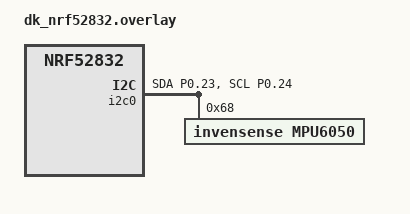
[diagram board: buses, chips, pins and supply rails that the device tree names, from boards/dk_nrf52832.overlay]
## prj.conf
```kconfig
# Peripheral
# CONFIG_STDOUT_CONSOLE=y
CONFIG_GPIO=y
CONFIG_I2C=y

# PRINT FLOAT
CONFIG_CBPRINTF_FP_SUPPORT=y

# SHELL
CONFIG_SHELL=y
CONFIG_GPIO_SHELL=y
CONFIG_I2C_SHELL=y

# Enable CONSOLE
CONFIG_CONSOLE=y

# Enable LOG
CONFIG_LOG=y
CONFIG_LOG_PRINTK=y
CONFIG_LOG_BUFFER_SIZE=4096

# Sensor
CONFIG_SENSOR=y
#CONFIG_SENSOR_LOG_LEVEL_DBG=y
CONFIG_MPU6050=y
CONFIG_MPU6050_TRIGGER_NONE=y
```

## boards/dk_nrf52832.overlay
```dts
&pinctrl {
	i2c0_default: i2c0_default {
		group1 {
			psels = <NRF_PSEL(TWIM_SDA, 0, 23)>,
				<NRF_PSEL(TWIM_SCL, 0, 24)>;
		};
	};
	i2c0_sleep: i2c0_sleep {
		group1 {
			psels = <NRF_PSEL(TWIM_SDA, 0, 23)>,
				<NRF_PSEL(TWIM_SCL, 0, 24)>;
			low-power-enable;
		};
	};
};

&i2c0 {
	compatible = "nordic,nrf-twi";
	status = "okay";
	pinctrl-0 = <&i2c0_default>;
	pinctrl-1 = <&i2c0_sleep>;
	pinctrl-names = "default", "sleep";

	mpu6050@68 {
		compatible = "invensense,mpu6050";
		reg = <0x68>;
		status = "okay";
		// int-gpios = <&gpio0 11 GPIO_ACTIVE_HIGH>;
	};
};
```

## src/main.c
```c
/*
 * Copyright (c) 2017 STMicroelectronics
 *
 * SPDX-License-Identifier: Apache-2.0
 */

#include <zephyr/kernel.h>
#include <zephyr/device.h>
#include <zephyr/drivers/sensor.h>
#include <stdio.h>
#include <zephyr/logging/log.h>
#include <zephyr/sys/printk.h>

LOG_MODULE_REGISTER(main, LOG_LEVEL_INF);

static int process_mpu6050(const struct device *dev);

int main(void)
{
	const struct device *const mpu6050 = DEVICE_DT_GET_ONE(invensense_mpu6050);

	if (!device_is_ready(mpu6050)) {
		printf("Device %s is not ready\n", mpu6050->name);
		return 0;
	}

#ifdef CONFIG_MPU6050_TRIGGER
	trigger = (struct sensor_trigger) {
		.type = SENSOR_TRIG_DATA_READY,
		.chan = SENSOR_CHAN_ALL,
	};
	if (sensor_trigger_set(mpu6050, &trigger,
			       handle_mpu6050_drdy) < 0) {
		printf("Cannot configure trigger\n");
		return 0;
	}
	printk("Configured for triggered sampling.\n");
#endif

	while (!IS_ENABLED(CONFIG_MPU6050_TRIGGER)) {
		int rc = process_mpu6050(mpu6050);

		if (rc != 0) {
			break;
		}
		k_sleep(K_SECONDS(2));
	}

	/* triggered runs with its own thread after exit */
	return 0;
}

static int process_mpu6050(const struct device *dev)
{
	struct sensor_value temperature;
	struct sensor_value accel[3];
	struct sensor_value gyro[3];
	int rc = sensor_sample_fetch(dev);

	if (rc == 0) {
		rc = sensor_channel_get(dev, SENSOR_CHAN_ACCEL_XYZ,
					accel);
	}
	if (rc == 0) {
		rc = sensor_channel_get(dev, SENSOR_CHAN_GYRO_XYZ,
					gyro);
	}
	if (rc == 0) {
		rc = sensor_channel_get(dev, SENSOR_CHAN_DIE_TEMP,
					&temperature);
	}
	if (rc == 0) {
		printf("[%s]:%g Cel\n"
		       "  accel %f %f %f m/s^2\n"
		       "  gyro  %f %f %f rad/s\n",
		       "mpu6050",
		       sensor_value_to_double(&temperature),
		       sensor_value_to_double(&accel[0]),
		       sensor_value_to_double(&accel[1]),
		       sensor_value_to_double(&accel[2]),
		       sensor_value_to_double(&gyro[0]),
		       sensor_value_to_double(&gyro[1]),
		       sensor_value_to_double(&gyro[2]));
	} else {
		printf("sample fetch/get failed: %d\n", rc);
	}

	return rc;
}
```

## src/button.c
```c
/*
 * @Author: andy.chang
 * @Date: 2025-03-09 02:55:17
 * @Last Modified by: andy.chang
 * @Last Modified time: 2025-03-10 00:50:01
 */

#include <zephyr/device.h>
#include <zephyr/drivers/gpio.h>
#include <zephyr/kernel.h>
#include <zephyr/logging/log.h>

LOG_MODULE_REGISTER(btn, LOG_LEVEL_INF);

/* size of stack area used by each thread */
#define STACKSIZE 1024

/* scheduling priority used by each thread */
#define PRIORITY 7

static const struct gpio_dt_spec btn =
    GPIO_DT_SPEC_GET(DT_NODELABEL(button0), gpios);
static struct gpio_callback btn_cb_data;

/* Semaphore to indicate that there was an update to the gpio */
static K_SEM_DEFINE(btn_update, 0, 1);

/**
 * @brief btn_chg
 *
 */
struct k_work_delayable btn_chg;

/**
 * @brief Button work
 *
 * @param work
 */
static void btn_work(struct k_work *work) {
    // Send semaphore to button thread
    k_sem_give(&btn_update);
}

static void btn_callback(const struct device *dev, struct gpio_callback *cb,
                         uint32_t pins) {
    // Debounce with kwork
    k_work_reschedule(&btn_chg, K_MSEC(3));
}

static void btn_init(void) {
    int ret;

    // Initial peripherial
    if (!device_is_ready(btn.port)) {
        LOG_ERR("Error: button device %s is not ready", btn.port->name);
        return;
    }

    k_work_init_delayable(&btn_chg, btn_work);

    ret = gpio_pin_configure_dt(&btn, GPIO_INPUT | GPIO_PULL_UP);
    if (ret != 0) {
        LOG_ERR("Error %d: failed to configure %s pin %d", ret, btn.port->name,
                btn.pin);
        return;
    }

    ret = gpio_pin_interrupt_configure_dt(&btn, GPIO_INT_EDGE_BOTH);
    if (ret != 0) {
        LOG_ERR("Error %d: failed to configure interrupt on %s pin %d\n", ret,
                btn.port->name, btn.pin);
        return;
    }

    gpio_init_callback(&btn_cb_data, btn_callback, BIT(btn.pin));
    gpio_add_callback(btn.port, &btn_cb_data);
    LOG_INF("Set up button at %s pin %d, level: %d\n", btn.port->name, btn.pin,
            gpio_pin_get_dt(&btn));

    while (1) {
        // Wait for semaphore with K_FOREVER
        k_sem_take(&btn_update, K_FOREVER);

        // Check button state
        uint8_t btn_state = gpio_pin_get_dt(&btn);
        if (btn_state) {
            LOG_INF("button pressed");
        } else {
            LOG_INF("button released");
        }
    }
}

K_THREAD_DEFINE(btn_init_id, STACKSIZE, btn_init, NULL, NULL, NULL, PRIORITY, 0,
                0);
```

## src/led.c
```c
/*
 * @Author: andy.chang
 * @Date: 2025-03-09 02:55:17
 * @Last Modified by: andy.chang
 * @Last Modified time: 2025-03-09 02:56:23
 */

#include <zephyr/device.h>
#include <zephyr/drivers/gpio.h>
#include <zephyr/kernel.h>
#include <zephyr/logging/log.h>


LOG_MODULE_REGISTER(led, LOG_LEVEL_INF);

/* size of stack area used by each thread */
#define STACKSIZE 1024

/* scheduling priority used by each thread */
#define PRIORITY 7

static void blink(void) {
    const struct gpio_dt_spec spec =
        GPIO_DT_SPEC_GET(DT_NODELABEL(led0), gpios);
    int ret;

    LOG_INF("Thread: %s", __func__);

    if (!device_is_ready(spec.port)) {
        LOG_ERR("Error: %s device is not ready", spec.port->name);
        return;
    }

    ret = gpio_pin_configure_dt(&spec, GPIO_OUTPUT_ACTIVE);
    if (ret != 0) {
        LOG_INF("Error %d: failed to configure pin %d", ret, spec.pin);
        return;
    }

    while (1) {
        gpio_pin_set(spec.port, spec.pin, 1);
        k_msleep(500);
        gpio_pin_set(spec.port, spec.pin, 0);
        k_msleep(500);
    }
}

K_THREAD_DEFINE(blink_id, STACKSIZE, blink, NULL, NULL, NULL, PRIORITY, 0, 0);
```
